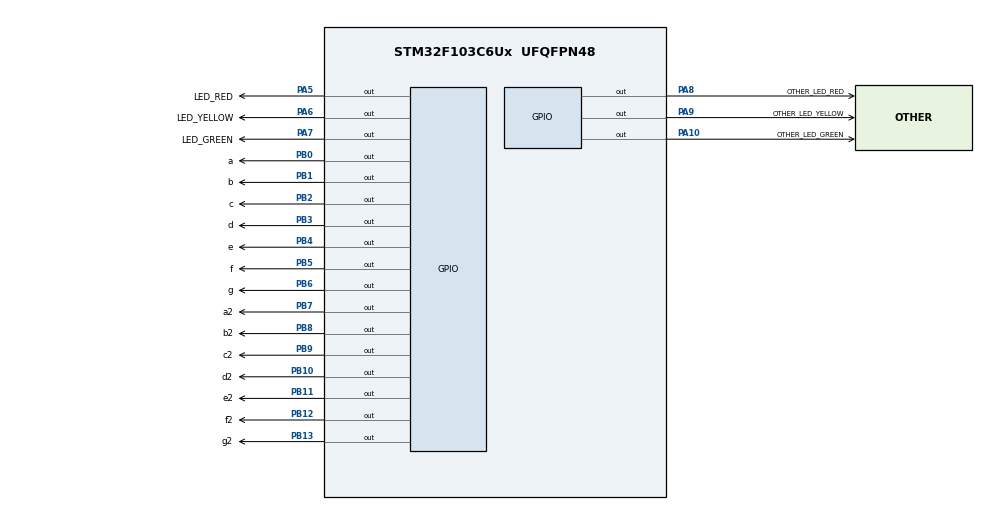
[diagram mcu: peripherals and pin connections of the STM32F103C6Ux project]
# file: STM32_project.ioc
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Mcu.Family=STM32F1
Mcu.Name=STM32F103C6Ux
Mcu.Package=UFQFPN48
NVIC.PriorityGroup=NVIC_PRIORITYGROUP_4
PA10.GPIO_Label=OTHER_LED_GREEN
PA10.Signal=GPIO_Output
PA5.GPIO_Label=LED_RED
PA5.Signal=GPIO_Output
PA6.GPIO_Label=LED_YELLOW
PA6.Signal=GPIO_Output
PA7.GPIO_Label=LED_GREEN
PA7.Signal=GPIO_Output
PA8.GPIO_Label=OTHER_LED_RED
PA8.Signal=GPIO_Output
PA9.GPIO_Label=OTHER_LED_YELLOW
PA9.Signal=GPIO_Output
PB0.GPIO_Label=a
PB0.Signal=GPIO_Output
PB1.GPIO_Label=b
PB1.Signal=GPIO_Output
PB10.GPIO_Label=d2
PB10.Signal=GPIO_Output
PB11.GPIO_Label=e2
PB11.Signal=GPIO_Output
PB12.GPIO_Label=f2
PB12.Signal=GPIO_Output
PB13.GPIO_Label=g2
PB13.Signal=GPIO_Output
PB2.GPIO_Label=c
PB2.Signal=GPIO_Output
PB3.GPIO_Label=d
PB3.Signal=GPIO_Output
PB4.GPIO_Label=e
PB4.Signal=GPIO_Output
PB5.GPIO_Label=f
PB5.Signal=GPIO_Output
PB6.GPIO_Label=g
PB6.Signal=GPIO_Output
PB7.GPIO_Label=a2
PB7.Signal=GPIO_Output
PB8.GPIO_Label=b2
PB8.Signal=GPIO_Output
PB9.GPIO_Label=c2
PB9.Signal=GPIO_Output
ProjectManager.HeapSize=0x200
ProjectManager.StackSize=0x400
ProjectManager.TargetToolchain=STM32CubeIDE
RCC.APB1Freq_Value=8000000
RCC.APB2Freq_Value=8000000
VP_SYS_VS_ND.Mode=No_Debug
board=custom

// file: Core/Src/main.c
/* USER CODE BEGIN Header */
/**
  ******************************************************************************
  * @file           : main.c
  * @brief          : Main program body
  ******************************************************************************
  * @attention
  *
  * <h2><center>&copy; Copyright (c) 2026 STMicroelectronics.
  * All rights reserved.</center></h2>
  *
  * This software component is licensed by ST under BSD 3-Clause license,
  * the "License"; You may not use this file except in compliance with the
  * License. You may obtain a copy of the License at:
  *                        opensource.org/licenses/BSD-3-Clause
  *
  ******************************************************************************
  */
/* USER CODE END Header */
#include "main.h"

void SystemClock_Config(void);
static void MX_GPIO_Init(void);

int main(void)
{

  /* MCU Configuration--------------------------------------------------------*/

  /* Reset of all peripherals, Initializes the Flash interface and the Systick. */
  HAL_Init();

  /* Configure the system clock */
  SystemClock_Config();

  /* Initialize all configured peripherals */
  MX_GPIO_Init();

  /* Infinite loop */
  /* USER CODE BEGIN WHILE */
  int red_dur = 5;
  int yellow_dur = 2;
  int green_dur = 3;
  int red_state = 1;
  int yellow_state = 0;
  int green_state = 0;
  int other_red_state = 0;
  int other_yellow_state = 0;
  int other_green_state = 1;
  int count = 1;

  while (1)
  {

	   HAL_GPIO_WritePin(LED_RED_GPIO_Port, LED_RED_Pin, red_state);
	   HAL_GPIO_WritePin(LED_YELLOW_GPIO_Port, LED_YELLOW_Pin, yellow_state);
	   HAL_GPIO_WritePin(LED_GREEN_GPIO_Port, LED_GREEN_Pin, green_state);

	   HAL_GPIO_WritePin(OTHER_LED_RED_GPIO_Port, OTHER_LED_RED_Pin,other_red_state);
	   HAL_GPIO_WritePin(OTHER_LED_YELLOW_GPIO_Port, OTHER_LED_YELLOW_Pin, other_yellow_state);
	   HAL_GPIO_WritePin(OTHER_LED_GREEN_GPIO_Port, OTHER_LED_GREEN_Pin, other_green_state);
	   HAL_Delay(1000);

	   if(count == green_dur){
	 	  other_yellow_state = 1 - other_yellow_state;
	 	  other_green_state = 1 - other_green_state;
	   }
	   else if(count == yellow_dur + green_dur){
	 	  red_state = 1 - red_state;
	 	  green_state = 1 - green_state;
	 	  other_yellow_state = 1 - other_yellow_state;
	 	  other_red_state = 1 - other_red_state;
	   }
	   else if (count == red_dur + green_dur){
		  yellow_state = 1 - yellow_state;
		  green_state = 1 - green_state;
	   }
	   else if(count == red_dur + yellow_dur + green_dur){
	 	  red_state = 1 - red_state;
	 	  yellow_state = 1 - yellow_state;
	 	  other_red_state = 1 - other_red_state;
	 	  other_green_state = 1 - other_green_state;
	 	  count = 0;
	   }
	   count++;
    /* USER CODE END WHILE */

  }
}

void SystemClock_Config(void)
{
  RCC_OscInitTypeDef RCC_OscInitStruct = {0};
  RCC_ClkInitTypeDef RCC_ClkInitStruct = {0};

  /** Initializes the RCC Oscillators according to the specified parameters
  * in the RCC_OscInitTypeDef structure.
  */
  RCC_OscInitStruct.OscillatorType = RCC_OSCILLATORTYPE_HSI;
  RCC_OscInitStruct.HSIState = RCC_HSI_ON;
  RCC_OscInitStruct.HSICalibrationValue = RCC_HSICALIBRATION_DEFAULT;
  RCC_OscInitStruct.PLL.PLLState = RCC_PLL_NONE;
  if (HAL_RCC_OscConfig(&RCC_OscInitStruct) != HAL_OK)
  {
    Error_Handler();
  }
  /** Initializes the CPU, AHB and APB buses clocks
  */
  RCC_ClkInitStruct.ClockType = RCC_CLOCKTYPE_HCLK|RCC_CLOCKTYPE_SYSCLK
                              |RCC_CLOCKTYPE_PCLK1|RCC_CLOCKTYPE_PCLK2;
  RCC_ClkInitStruct.SYSCLKSource = RCC_SYSCLKSOURCE_HSI;
  RCC_ClkInitStruct.AHBCLKDivider = RCC_SYSCLK_DIV1;
  RCC_ClkInitStruct.APB1CLKDivider = RCC_HCLK_DIV1;
  RCC_ClkInitStruct.APB2CLKDivider = RCC_HCLK_DIV1;

  if (HAL_RCC_ClockConfig(&RCC_ClkInitStruct, FLASH_LATENCY_0) != HAL_OK)
  {
    Error_Handler();
  }
}

static void MX_GPIO_Init(void)
{
  GPIO_InitTypeDef GPIO_InitStruct = {0};

  /* GPIO Ports Clock Enable */
  __HAL_RCC_GPIOA_CLK_ENABLE();

  /*Configure GPIO pin Output Level */
  HAL_GPIO_WritePin(GPIOA, LED_RED_Pin|LED_YELLOW_Pin|LED_GREEN_Pin|OTHER_LED_RED_Pin
                          |OTHER_LED_YELLOW_Pin|OTHER_LED_GREEN_Pin, GPIO_PIN_RESET);

  /*Configure GPIO pins : LED_RED_Pin LED_YELLOW_Pin LED_GREEN_Pin OTHER_LED_RED_Pin
                           OTHER_LED_YELLOW_Pin OTHER_LED_GREEN_Pin */
  GPIO_InitStruct.Pin = LED_RED_Pin|LED_YELLOW_Pin|LED_GREEN_Pin|OTHER_LED_RED_Pin
                          |OTHER_LED_YELLOW_Pin|OTHER_LED_GREEN_Pin;
  GPIO_InitStruct.Mode = GPIO_MODE_OUTPUT_PP;
  GPIO_InitStruct.Pull = GPIO_NOPULL;
  GPIO_InitStruct.Speed = GPIO_SPEED_FREQ_LOW;
  HAL_GPIO_Init(GPIOA, &GPIO_InitStruct);

}

void Error_Handler(void)
{
  __disable_irq();
  while (1)
  {
  }
}

/************************ (C) COPYRIGHT STMicroelectronics *****END OF FILE****/
